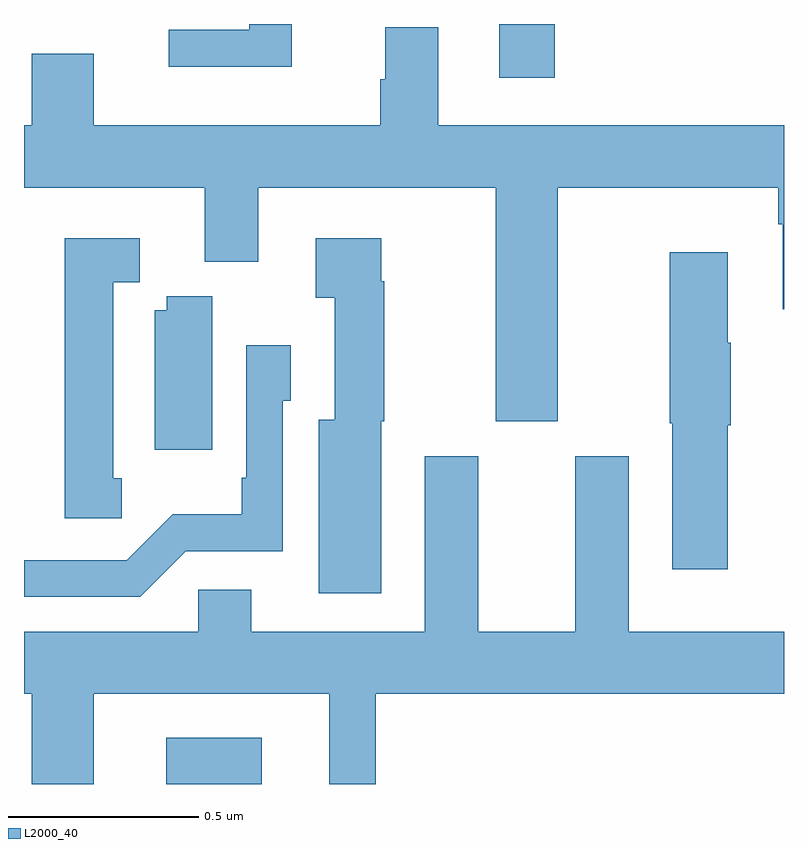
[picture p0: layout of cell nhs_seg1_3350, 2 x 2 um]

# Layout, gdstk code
import gdstk
lib = gdstk.Library(unit=1e-6, precision=1e-09)
def R(c, l, rs):  # rectangles x0, y0, x1, y1
    for r in rs: c.add(gdstk.rectangle(r[:2], r[2:], *l))
def P(c, l, *ps):  # polygons
    for p in ps: c.add(gdstk.Polygon(p, *l))
L2000_40 = (2000, 40)

nhs_seg1_3350 = lib.new_cell('nhs_seg1_3350')
R(nhs_seg1_3350, L2000_40, [(153.374,514.199,153.625,514.321), (154.25,516.057,154.397,516.199)])
P(nhs_seg1_3350, L2000_40, [(153.705,516.199),(153.593,516.199),(153.593,516.184),(153.381,516.184),(153.381,516.086),(153.705,516.086)],
  [(154.405,515.768),(154.985,515.768),(154.985,515.672),(154.997,515.672),(154.997,515.448),(155,515.448),(155,515.932),(154.09,515.932),(154.09,516.19),(153.95,516.19),(153.95,516.053),(153.938,516.053),(153.938,515.932),(153.184,515.932),(153.184,516.121),(153.02,516.121),(153.02,515.932),(153,515.932),(153,515.768),(153.476,515.768),(153.476,515.574),(153.616,515.574),(153.616,515.768),(154.241,515.768),(154.241,515.154),(154.405,515.154)],
  [(153.94,515.154),(153.948,515.154),(153.948,515.522),(153.94,515.522),(153.94,515.635),(153.768,515.635),(153.768,515.479),(153.818,515.479),(153.818,515.158),(153.776,515.158),(153.776,514.701),(153.94,514.701)],
  [(153.257,515.004),(153.235,515.004),(153.235,515.52),(153.304,515.52),(153.304,515.635),(153.107,515.635),(153.107,514.899),(153.257,514.899)],
  [(154.852,515.143),(154.86,515.143),(154.86,515.36),(154.852,515.36),(154.852,515.599),(154.699,515.599),(154.699,515.149),(154.706,515.149),(154.706,514.764),(154.852,514.764)],
  [(153.496,515.483),(153.376,515.483),(153.376,515.446),(153.344,515.446),(153.344,515.079),(153.496,515.079)],
  [(153.426,514.812),(153.681,514.812),(153.681,515.208),(153.702,515.208),(153.702,515.353),(153.585,515.353),(153.585,515.005),(153.573,515.005),(153.573,514.909),(153.391,514.909),(153.27,514.788),(153,514.788),(153,514.692),(153.306,514.692)],
  [(155,514.6),(154.591,514.6),(154.591,515.062),(154.451,515.062),(154.451,514.6),(154.195,514.6),(154.195,515.062),(154.055,515.062),(154.055,514.6),(153.598,514.6),(153.598,514.71),(153.459,514.71),(153.459,514.6),(153,514.6),(153,514.436),(153.02,514.436),(153.02,514.199),(153.184,514.199),(153.184,514.436),(153.803,514.436),(153.803,514.199),(153.925,514.199),(153.925,514.436),(155,514.436)])

lib.write_gds('nhs_seg1_3350.gds')
